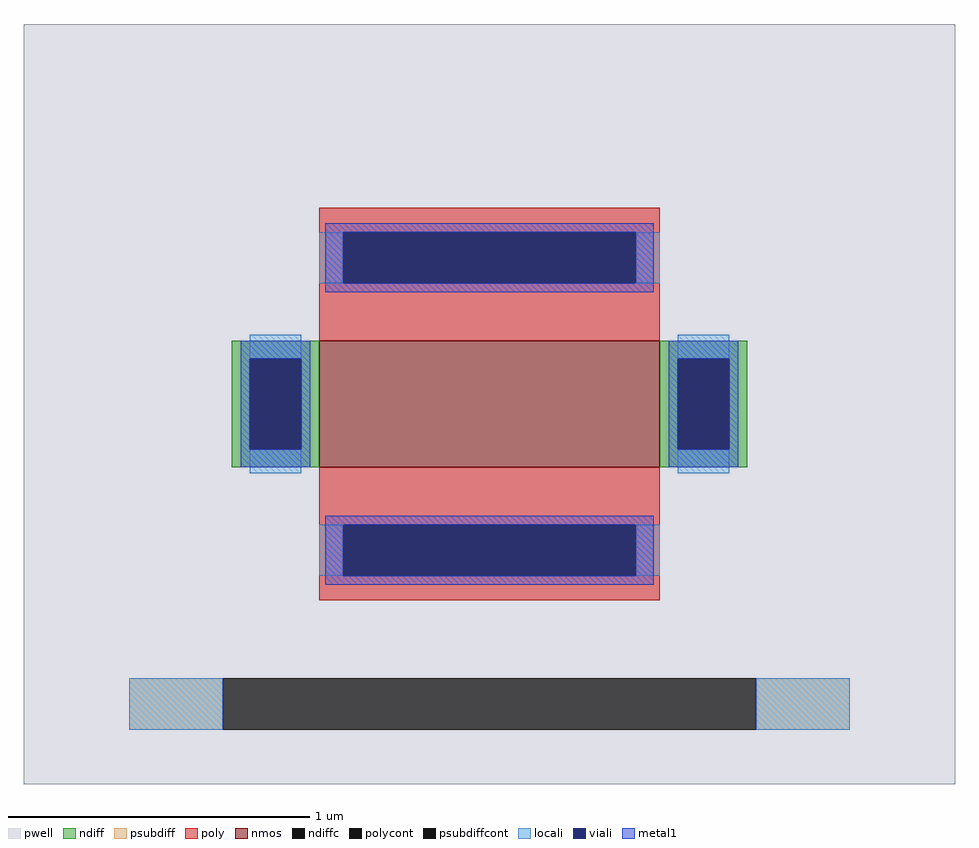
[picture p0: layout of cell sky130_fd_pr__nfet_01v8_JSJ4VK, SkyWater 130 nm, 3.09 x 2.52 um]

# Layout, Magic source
magic
tech sky130A
magscale 1 2
<< pwell >>
rect -309 -252 309 252
<< nmos >>
rect -113 -42 113 42
<< ndiff >>
rect -171 30 -113 42
rect -171 -30 -159 30
rect -125 -30 -113 30
rect -171 -42 -113 -30
rect 113 30 171 42
rect 113 -30 125 30
rect 159 -30 171 30
rect 113 -42 171 -30
<< ndiffc >>
rect -159 -30 -125 30
rect 125 -30 159 30
<< psubdiff >>
rect -239 -216 -177 -182
rect 177 -216 239 -182
<< psubdiffcont >>
rect -177 -216 177 -182
<< poly >>
rect -113 114 113 130
rect -113 80 -97 114
rect 97 80 113 114
rect -113 42 113 80
rect -113 -80 113 -42
rect -113 -114 -97 -80
rect 97 -114 113 -80
rect -113 -130 113 -114
<< polycont >>
rect -97 80 97 114
rect -97 -114 97 -80
<< locali >>
rect -113 80 -97 114
rect 97 80 113 114
rect -159 30 -125 46
rect -159 -46 -125 -30
rect 125 30 159 46
rect 125 -46 159 -30
rect -113 -114 -97 -80
rect 97 -114 113 -80
rect -239 -216 -177 -182
rect 177 -216 239 -182
<< viali >>
rect -97 80 97 114
rect -159 -30 -125 30
rect 125 -30 159 30
rect -97 -114 97 -80
<< metal1 >>
rect -109 114 109 120
rect -109 80 -97 114
rect 97 80 109 114
rect -109 74 109 80
rect -165 30 -119 42
rect -165 -30 -159 30
rect -125 -30 -119 30
rect -165 -42 -119 -30
rect 119 30 165 42
rect 119 -30 125 30
rect 159 -30 165 30
rect 119 -42 165 -30
rect -109 -80 109 -74
rect -109 -114 -97 -80
rect 97 -114 109 -80
rect -109 -120 109 -114
<< properties >>
string FIXED_BBOX -256 -199 256 199
string gencell sky130_fd_pr__nfet_01v8
string library sky130
string parameters w 0.42 l 1.13 m 1 nf 1 diffcov 100 polycov 100 guard 1 glc 1 grc 1 gtc 1 gbc 1 tbcov 100 rlcov 100 topc 1 botc 1 poverlap 0 doverlap 1 lmin 0.15 wmin 0.42 compatible {sky130_fd_pr__nfet_01v8 sky130_fd_pr__nfet_01v8_lvt  sky130_fd_bs_flash__special_sonosfet_star  sky130_fd_pr__nfet_g5v0d10v5 sky130_fd_pr__nfet_05v0_nvt  sky130_fd_pr__nfet_03v3_nvt} full_metal 1 viasrc 100 viadrn 100 viagate 100 viagb 0 viagr 0 viagl 0 viagt 0
<< end >>
